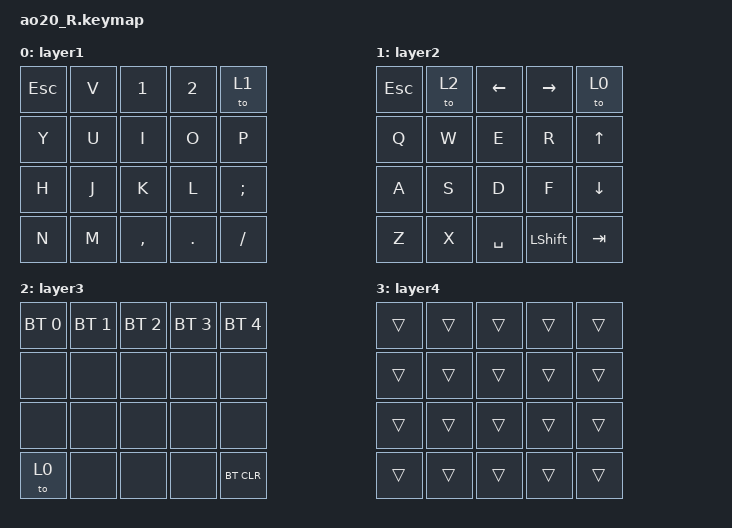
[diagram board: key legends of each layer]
#include <behaviors.dtsi>
#include <dt-bindings/zmk/bt.h>
#include <dt-bindings/zmk/keys.h>
#include <dt-bindings/zmk/keys.h>

/ {
    macros {
        m0: m0 {
            compatible = "zmk,behavior-macro";
            #binding-cells = <0>;
            bindings = <&kp A &kp O>;
            label = "M0";
        };

        m1: m1 {
            compatible = "zmk,behavior-macro";
            #binding-cells = <0>;
            bindings = <&kp A &kp O>;
            label = "M1";
        };
    };

    behaviors {
        RShift_Del: RShift_Del {
            compatible = "zmk,behavior-tap-dance";
            label = "RSHIFT_DEL";
            #binding-cells = <0>;
            bindings = <&kt RSHFT>, <&kt DEL>;
        };
    };

    combos {
        compatible = "zmk,combos";

        RDEL {
            bindings = <&kp DEL>;
            key-positions = <14 19>;
            layers = <0>;
        };

        Rpoint {
            bindings = <&kp PERIOD>;
            key-positions = <5 15>;
        };
    };

    keymap {
        compatible = "zmk,keymap";

        layer1 {
            bindings = <
&kp ESC  &kp V  &kp NUMBER_1  &kp NUMBER_2  &to 1
&kp Y    &kp U  &kp I         &kp O         &kp P
&kp H    &kp J  &kp K         &kp L         &kp SEMI
&kp N    &kp M  &kp COMMA     &kp DOT       &kp FSLH
            >;
        };

        layer2 {
            bindings = <
&kp ESC  &to 2  &kp LEFT   &kp RIGHT  &to 0
&kp Q    &kp W  &kp E      &kp R      &kp UP
&kp A    &kp S  &kp D      &kp F      &kp DOWN
&kp Z    &kp X  &kp SPACE  &kp LSHFT  &kp TAB
            >;
        };

        layer3 {
            bindings = <
&bt BT_SEL 0  &bt BT_SEL 1  &bt BT_SEL 2  &bt BT_SEL 3  &bt BT_SEL 4
&none         &none         &none         &none         &none
&none         &none         &none         &none         &none
&to 0         &none         &none         &none         &bt BT_CLR
            >;
        };

        layer4 {
            bindings = <
&trans  &trans  &trans  &trans  &trans
&trans  &trans  &trans  &trans  &trans
&trans  &trans  &trans  &trans  &trans
&trans  &trans  &trans  &trans  &trans
            >;
        };
    };
};
